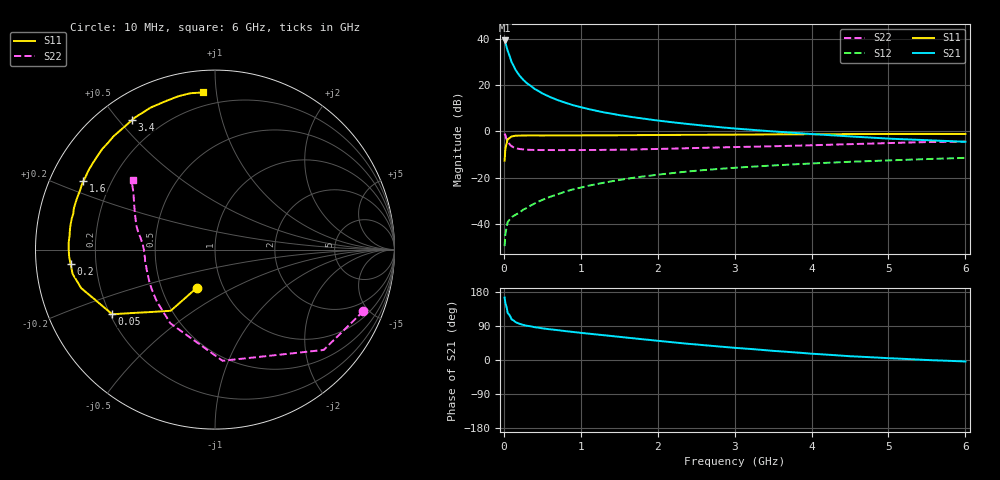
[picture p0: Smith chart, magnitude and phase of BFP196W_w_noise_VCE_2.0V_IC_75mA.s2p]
! (c) 2017  Infineon Technologies AG, Munich
! Infineon Technologies  Discrete & RF Semiconductors
! BFP196W
! VCE =  2.0 V,  IC =  75 mA
! Common Emitter S-Parameters:  Jan 2017
# GHz  S  MA  R  50
!  f  S11  S21  S12  S22
! GHz  MAG  ANG  MAG  ANG  MAG  ANG  MAG  ANG
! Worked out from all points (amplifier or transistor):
!   77 points, 10 MHz to 6 GHz, reference 50 ohm
!   highest |S21| = 39.3 dB at 10 MHz (marker M1)
!   |S21| within 3 dB of that: start of sweep to 37.34 MHz
!   unconditionally stable (mu >= 1): 482.2 MHz to 3.411 GHz
!   at 130 MHz: K = 0.57, MSG = 32.3 dB, |S12| = -36.5 dB
!   at 2.2 GHz: K = 1.04, MAG = 9.8 dB, |S12| = -18.0 dB
!   at 6 GHz: K = 0.97, MSG = 3.5 dB, |S12| = -11.5 dB
!   lowest NFmin = 1.62 dB at 450 MHz
!   S11 on the Smith chart (normalised r, x): 10 MHz: 0.75, -0.34; 50 MHz: 0.21, -0.28; 200 MHz: 0.11, -0.05; 1.6 GHz: 0.10, +0.24; 3.4 GHz: 0.10, +0.54; 6 GHz: 0.12, +0.92
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0.01  0.2334 -115.2  92.07 164.7  0.0033 76.2  0.8947 -22.5
0.02  0.4207 -125.9  83.55 150.1  0.006 70.9  0.8243 -42.7
0.05  0.6763 -147.8  54.7 124.1  0.0109 46.0  0.6209 -86.1
0.1  0.7762 -164.0  31.41 107.3  0.0139 44.2  0.4804 -121.1
0.15  0.8046 -170.3  21.61 100.2  0.0157 45.9  0.4341 -138.3
0.2  0.8087 -174.4  16.33 95.8  0.0174 50.2  0.4162 -147.7
0.25  0.8135 -177.2  13.12 92.6  0.0202 53.7  0.4066 -154.3
0.3  0.8147 -179.4  10.96 90.4  0.0222 56.6  0.4006 -158.6
0.4  0.8163 177.2  8.264 86.6  0.0276 60.2  0.3963 -164.3
0.5  0.8139 174.5  6.614 83.6  0.033 63.5  0.394 -168.2
0.6  0.816 172.1  5.527 81.0  0.0384 64.7  0.3949 -170.9
0.7  0.8166 170.1  4.734 78.8  0.0436 66.8  0.3926 -173.0
0.9  0.8147 165.8  3.682 74.0  0.0557 66.1  0.3941 -176.1
1.1  0.8197 161.8  3.036 69.6  0.0668 66.0  0.3954 -178.7
1.3  0.8204 158.0  2.576 65.4  0.0775 64.9  0.3975 179.2
1.6  0.8269 152.6  2.117 59.0  0.0945 62.7  0.4034 175.9
2.1  0.8348 143.4  1.637 48.7  0.1206 58.2  0.42 171.0
3.1  0.8493 127.2  1.119 30.7  0.1671 48.0  0.461 162.2
3.4  0.8568 122.8  1.025 25.9  0.1792 45.3  0.4724 159.4
4.1  0.8685 113.2  0.855 15.4  0.2056 38.8  0.5057 152.6
5.1  0.8789 102.4  0.685 3.9  0.2386 30.4  0.5634 144.1
6  0.8778 94.2  0.596 -4.0  0.2673 23.3  0.5987 139.7
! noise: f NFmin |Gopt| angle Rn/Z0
0.45  1.62  0.56  -175  0.06
0.9  1.75  0.59  -169  0.07
1.9  2.61  0.7  -148  0.19
2.4  3.01  0.74  -143  0.31
